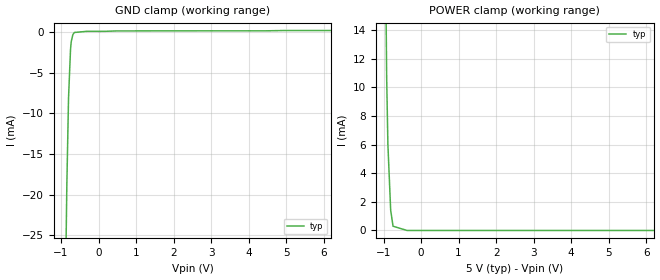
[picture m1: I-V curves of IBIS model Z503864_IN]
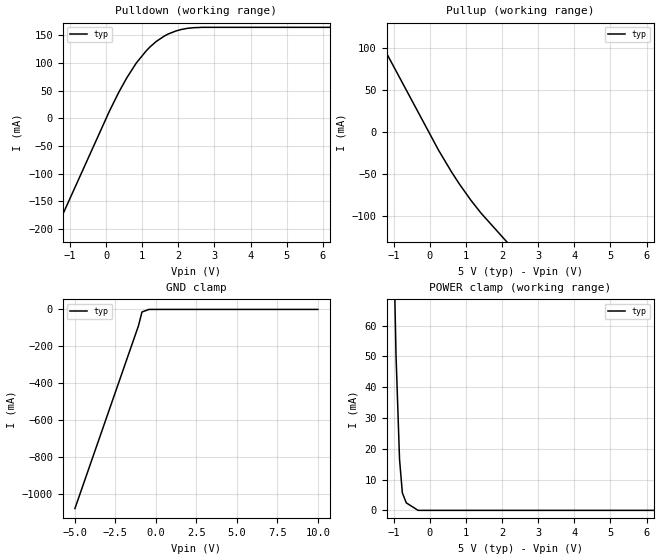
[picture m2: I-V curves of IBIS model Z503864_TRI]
| YOU ARE ONLY AUTHORIZED TO USE THIS SOFTWARE
| ACCORDING TO LICENSOR'S LICENSE RESTRICTIONS.
[IBIS Ver] 3.1
[File Name] mc74act533n.ibs
[File Rev] 2.0
[Source] Measured and created by ICX Technology
[Date] Friday 7/14/00 9:08:01 AM
[Copyright]
| (C) COPYRIGHT 1993-2000
| MENTOR GRAPHICS CORPORATION
| ICX STANDARD LIBRARY, ICX PROJECT MODELING,
| ICX CUSTOM MODELING, ICX VENDOR MODEL
| ALL RIGHTS RESERVED.
| THE FOLLOWING ARE TRADEMARKS OR SERVICE MARKS OF
| MENTOR GRAPHICS CORPORATION:ICX (R), ICX STANDARD
| LIBRARY(R), ICX PROJECT MODELING(R), ICX CUSTOM
| MODELING(R), qualityIBIS(TM), MODELVIEWER(TM),
| AND MODELEDITOR(TM)
| ALL COPIES OF SOFTWARE, INCLUDING BUT NOT LIMITED TO
| ANY MODIFICATIONS, ENHANCEMENTS OR DERIVATIVE WORKS,
| MUST CONTAIN ALL MENTOR GRAPHICS CORPORATION'S
| NOTICES AND LEGENDS, INCLUDING THOSE EMBEDDED IN
| SOFTWARE AND THOSE AFFIXED TO SOFTWARE MEDIUM
| AND CONTAINER, AS RECEIVED FROM MENTOR GRAPHICS
| CORPORATION.
|  ZAP Model Builder 2.7
[Component] MC74ACT533N
[Manufacturer] OnSemiconductor
[Package]
| variable   typ   min   max
R_pkg  .216ohms NA NA
L_pkg  5.76nH NA NA
C_pkg  1.29pF NA NA
[Pin] signal_name  model_name  R_pin  L_pin C_pin
1 _EN Z503864_IN .232 9.76n 1.87p
2 _Q0 Z503864_TRI .224 7.26n 1.58p
3 D0 Z503864_IN .216 5.26n 1.29p
4 D1 Z503864_IN .208 3.76n 1.0p
5 _Q1 Z503864_TRI .2 2.76n .71p
6 _Q2 Z503864_TRI .2 2.76n .71p
7 D2 Z503864_IN .208 3.76n 1.0p
8 D3 Z503864_IN .216 5.26n 1.29p
9 _Q3 Z503864_TRI .224 7.26n 1.58p
10 GND GND .232 9.76n 1.87p
11 CLK Z503864_IN .232 9.76n 1.87p
12 _Q4 Z503864_TRI .224 7.26n 1.58p
13 D4 Z503864_IN .216 5.26n 1.29p
14 D5 Z503864_IN .208 3.76n 1.0p
15 _Q5 Z503864_TRI .2 2.76n .71p
16 _Q6 Z503864_TRI .2 2.76n .71p
17 D6 Z503864_IN .208 3.76n 1.0p
18 D7 Z503864_IN .216 5.26n 1.29p
19 _Q7 Z503864_TRI .224 7.26n 1.58p
20 VCC POWER .232 9.76n 1.87p
| Models and submodels in the file (2): Z503864_IN (Input), Z503864_TRI (3-state)
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| (C) COPYRIGHT 1993-2000
| MENTOR GRAPHICS CORPORATION
| ICX STANDARD LIBRARY, ICX PROJECT MODELING,
| ICX CUSTOM MODELING, ICX VENDOR MODEL
| ALL RIGHTS RESERVED.
| THE FOLLOWING ARE TRADEMARKS OR SERVICE MARKS OF
| MENTOR GRAPHICS CORPORATION:ICX (R), ICX STANDARD
| LIBRARY(R), ICX PROJECT MODELING(R), ICX CUSTOM
| MODELING(R), qualityIBIS(TM), MODELVIEWER(TM),
| AND MODELEDITOR(TM)
| ALL COPIES OF SOFTWARE, INCLUDING BUT NOT LIMITED TO
| ANY MODIFICATIONS, ENHANCEMENTS OR DERIVATIVE WORKS,
| MUST CONTAIN ALL MENTOR GRAPHICS CORPORATION'S
| NOTICES AND LEGENDS, INCLUDING THOSE EMBEDDED IN
| SOFTWARE AND THOSE AFFIXED TO SOFTWARE MEDIUM
| AND CONTAINER, AS RECEIVED FROM MENTOR GRAPHICS
| CORPORATION.
| Model Application Version 1.89 2/18/99.
[Model] Z503864_IN
Model_type Input
Vinl = 800.0mV
Vinh = 2.000V
C_comp 4.000pF NA NA
| variable typ   min   max
[Voltage Range] 5.000V NA NA
[GND Clamp Reference] 0.000V NA NA
[POWER Clamp Reference] 5.000V NA NA
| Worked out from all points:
|   GND clamp passes 1 mA (typ) near -0.72 V on its own axis
|   POWER clamp passes 1 mA (typ) near -0.79 V on its own axis
[GND Clamp]
-5V       -2.958A    NA         NA
-1.006V   -74.16mA   NA         NA
-845.1mV  -18.79mA   NA         NA
-800.1mV  -8.118mA   NA         NA
-747.1mV  -2.133mA   NA         NA
-728mV    -1.187mA   NA         NA
-684.3mV  -330.6uA   NA         NA
-645mV    -63.13uA   NA         NA
-322.5mV  73.24uA    NA         NA
507.7mV   129.6uA    NA         NA
10V       175.5uA    NA         NA
[POWER Clamp]
-5V       2.434A     NA         NA
-1.133V   91.75mA    NA         NA
-1.025V   41.87mA    NA         NA
-917mV    10.74mA    NA         NA
-884mV    6.023mA    NA         NA
-810mV    1.425mA    NA         NA
-747mV    296.8uA    NA         NA
-373.5mV  0A         NA         NA
10V       0A         NA         NA
| (C) COPYRIGHT 1993-2000
| MENTOR GRAPHICS CORPORATION
| ICX STANDARD LIBRARY, ICX PROJECT MODELING,
| ICX CUSTOM MODELING, ICX VENDOR MODEL
| ALL RIGHTS RESERVED.
| THE FOLLOWING ARE TRADEMARKS OR SERVICE MARKS OF
| MENTOR GRAPHICS CORPORATION:ICX (R), ICX STANDARD
| LIBRARY(R), ICX PROJECT MODELING(R), ICX CUSTOM
| MODELING(R), qualityIBIS(TM), MODELVIEWER(TM),
| AND MODELEDITOR(TM)
| ALL COPIES OF SOFTWARE, INCLUDING BUT NOT LIMITED TO
| ANY MODIFICATIONS, ENHANCEMENTS OR DERIVATIVE WORKS,
| MUST CONTAIN ALL MENTOR GRAPHICS CORPORATION'S
| NOTICES AND LEGENDS, INCLUDING THOSE EMBEDDED IN
| SOFTWARE AND THOSE AFFIXED TO SOFTWARE MEDIUM
| AND CONTAINER, AS RECEIVED FROM MENTOR GRAPHICS
| CORPORATION.
| Model Application Version 1.89 2/18/99.
[Model] Z503864_TRI
Model_type 3-state
Vref=0.000V
Rref=500.0ohms
Cref=50.00pF
Vmeas=1.500V
C_comp 8.000pF NA NA
| variable typ   min   max
[Voltage Range] 5.000V NA NA
[POWER Clamp Reference] 5.000V NA NA
[Pullup Reference] 5.000V NA NA
[Pulldown Reference] 0.000V NA NA
[GND Clamp Reference] 0.000V NA NA
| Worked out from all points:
|   slope of the pulldown table from 0 to 0.75 V, typ, clamps not added: 8.2 ohm
|   slope of the pullup table from 0 to 0.75 V, typ, clamps not added: 13.6 ohm
[GND Clamp]
-5V       -1.076A    NA         NA
-1.079V   -89.24mA   NA         NA
-859.4mV  -13.89mA   NA         NA
-429.7mV  0A         NA         NA
10V       0A         NA         NA
[Pulldown]
-5V       -722.8mA   NA         NA
92.89mV   13.34mA    NA         NA
356.5mV   47.97mA    NA         NA
568.9mV   72.94mA    NA         NA
835mV     100.1mA    NA         NA
1.114V    122.4mA    NA         NA
1.392V    139.3mA    NA         NA
1.621V    149.3mA    NA         NA
1.933V    158.1mA    NA         NA
2.245V    162.8mA    NA         NA
2.661V    164.7mA    NA         NA
10V       164.7mA    NA         NA
[Pullup]
-5V       399.7mA    NA         NA
240mV     -21.57mA   NA         NA
592mV     -47.02mA   NA         NA
815mV     -61.88mA   NA         NA
1.136V    -81.36mA   NA         NA
1.416V    -96.73mA   NA         NA
10V       -509.5mA   NA         NA
[POWER Clamp]
-5V       3.07A      NA         NA
-1.054V   118.2mA    NA         NA
-938mV    50.67mA    NA         NA
-840mV    16.64mA    NA         NA
-762mV    5.687mA    NA         NA
-653mV    2.44mA     NA         NA
-326.5mV  0A         NA         NA
10V       0A         NA         NA
[Ramp]
| variable typ min max
dV/dt_r 2.943/695.2p NA NA
dV/dt_f 2.943/461.3p NA NA
R_load = 500.0Ohms
